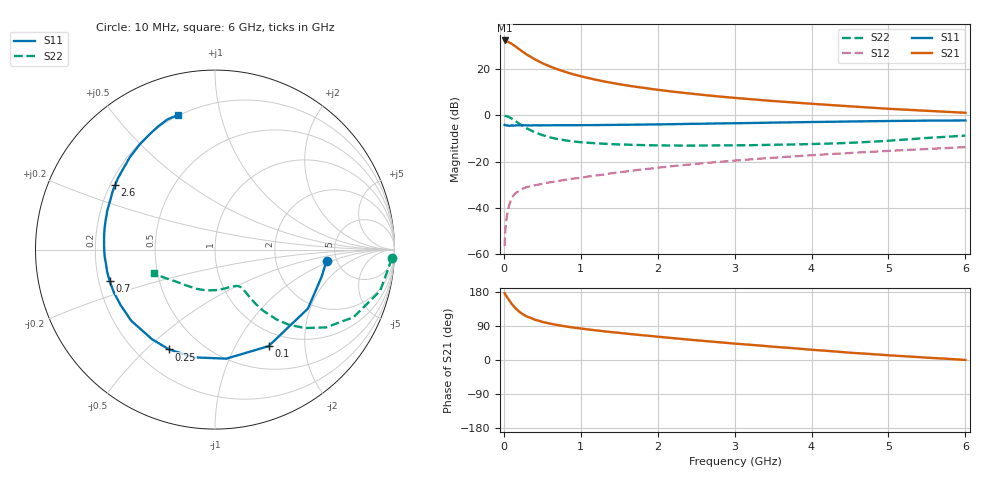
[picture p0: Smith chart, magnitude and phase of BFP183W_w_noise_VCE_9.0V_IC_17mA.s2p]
! Infineon Technologies  Discrete & RF Semiconductors
! BFP183W
! VCE =  9.0 V,  IC =  17 mA
! Common Emitter S-Parameters:  Jan 2017
# GHz  S  MA  R  50
!  f  S11  S21  S12  S22
! GHz  MAG  ANG  MAG  ANG  MAG  ANG  MAG  ANG
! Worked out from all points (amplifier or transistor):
!   77 points, 10 MHz to 6 GHz, reference 50 ohm
!   highest |S21| = 32.4 dB at 10 MHz (marker M1)
!   |S21| within 3 dB of that: start of sweep to 168.3 MHz
!   unconditionally stable (mu >= 1): 1.311 GHz to 3.645 GHz
!   at 130 MHz: K = 0.20, MSG = 32.4 dB, |S12| = -34.5 dB
!   at 2.2 GHz: K = 1.06, MAG = 14.5 dB, |S12| = -21.9 dB
!   at 6 GHz: K = 0.86, MSG = 7.4 dB, |S12| = -13.7 dB
!   lowest NFmin = 1.12 dB at 450 MHz
!   S11 on the Smith chart (normalised r, x): 10 MHz: 4.15, -0.85; 100 MHz: 0.79, -1.38; 250 MHz: 0.33, -0.59; 700 MHz: 0.25, -0.14; 2.6 GHz: 0.22, +0.28; 6 GHz: 0.20, +0.74
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0.01  0.625 -5.7  41.56 176.7  0.0015 86.0  0.985 -2.8
0.02  0.6128 -14.5  40.76 172.7  0.0035 85.7  0.9735 -5.7
0.05  0.6132 -32.4  39.34 163.2  0.0084 73.6  0.9487 -14.0
0.1  0.6152 -61.0  35.46 148.5  0.0161 67.0  0.8592 -26.0
0.15  0.6109 -84.1  31.01 136.8  0.0209 57.4  0.7556 -35.0
0.2  0.6116 -101.0  26.86 127.5  0.0235 52.8  0.6638 -41.2
0.25  0.6124 -114.7  23.4 120.3  0.0264 48.8  0.5852 -45.6
0.3  0.6103 -125.2  20.5 114.8  0.0285 44.6  0.5223 -48.5
0.4  0.6123 -139.7  16.36 106.5  0.0309 43.6  0.4327 -51.8
0.5  0.6102 -149.8  13.45 100.7  0.0334 44.1  0.3752 -53.2
0.6  0.6118 -157.4  11.41 96.0  0.036 45.5  0.3355 -53.9
0.7  0.6126 -163.3  9.861 92.2  0.038 46.0  0.308 -54.1
0.9  0.6128 -172.6  7.748 85.7  0.0431 49.1  0.2748 -54.7
1.1  0.6173 -179.5  6.4 80.6  0.048 51.2  0.2561 -55.5
1.3  0.6209 174.4  5.427 75.8  0.053 52.6  0.2445 -57.0
1.5  0.626 169.5  4.724 71.6  0.059 54.3  0.2356 -59.1
2.1  0.6426 156.3  3.415 59.6  0.0773 55.9  0.2246 -69.2
2.6  0.6625 147.2  2.758 50.3  0.0929 55.6  0.2236 -80.6
3.1  0.6808 138.8  2.318 41.8  0.1088 54.1  0.2265 -92.6
4.1  0.7233 124.5  1.741 25.6  0.1414 50.0  0.2431 -117.9
5.1  0.76 113.5  1.363 11.2  0.1746 44.8  0.2917 -143.9
6  0.778 105.5  1.139 0.2  0.2062 39.1  0.3657 -158.7
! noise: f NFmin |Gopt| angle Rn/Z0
0.45  1.12  0.17  164  -0.02
0.9  1.15  0.23  169  0.09
1.9  1.61  0.4  -165  0.08
2.4  1.84  0.44  -159  0.11
